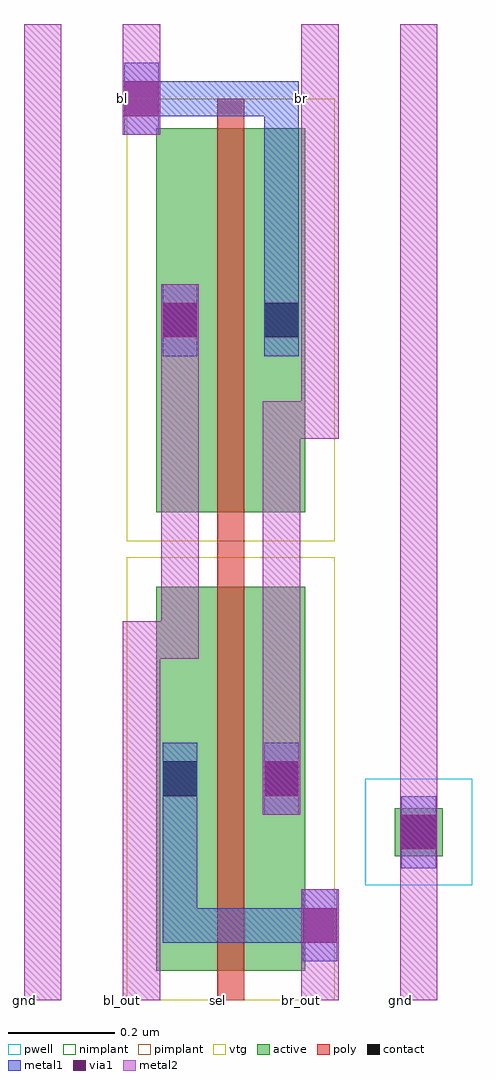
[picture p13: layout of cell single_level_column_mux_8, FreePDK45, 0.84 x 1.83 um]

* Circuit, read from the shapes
.subckt single_level_column_mux_8 bl bl_out br br_out gnd sel
M1 br sel br_out gnd nfet w=0.72u l=0.05u
M2 bl sel bl_out gnd nfet w=0.72u l=0.05u
.ends

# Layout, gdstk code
import gdstk
lib = gdstk.Library(unit=1e-6, precision=5e-10)
def R(c, l, rs):  # rectangles x0, y0, x1, y1
    for r in rs: c.add(gdstk.rectangle(r[:2], r[2:], *l))
active = (1, 0)
pwell = (2, 0)
nimplant = (4, 0)
pimplant = (5, 0)
vtg = (6, 0)
poly = (9, 0)
contact = (10, 0)
metal1 = (11, 0)
via1 = (12, 0)
metal2 = (13, 0)

active_contact_metal1_1x = lib.new_cell('active_contact_metal1_1x1_np')
R(active_contact_metal1_1x, active, [(0,0.0225,0.09,0.1125)])
R(active_contact_metal1_1x, pwell, [(-0.055,-0.0325,0.145,0.1675)])
R(active_contact_metal1_1x, nimplant, [(0,0.0225,0.09,0.1125)])
R(active_contact_metal1_1x, contact, [(0.0125,0.035,0.0775,0.1)])
R(active_contact_metal1_1x, metal1, [(0.0125,0,0.0775,0.135)])

nmos_m1_w0_72 = lib.new_cell('nmos_m1_w0_72')
R(nmos_m1_w0_72, active, [(0,0,0.28,0.72)])
R(nmos_m1_w0_72, pwell, [(-0.055,-0.055,0.335,0.775)])
R(nmos_m1_w0_72, nimplant, [(0,0,0.28,0.72)])
R(nmos_m1_w0_72, vtg, [(-0.055,-0.055,0.335,0.775)])
R(nmos_m1_w0_72, poly, [(0.115,-0.055,0.165,0.775), (0.115,-0.055,0.165,0.775)])
R(nmos_m1_w0_72, metal1, [(0.0125,0.2925,0.0775,0.4275), (0.2025,0.2925,0.2675,0.4275)])
nmos_m1_w0_72.add(gdstk.Reference(active_contact_metal1_1x, (0,0.2925)))
nmos_m1_w0_72.add(gdstk.Reference(active_contact_metal1_1x, (0.19,0.2925)))
nmos_m1_w0_72.add(gdstk.Label('S', (0.0125,0.2925), layer=11, texttype=0))
nmos_m1_w0_72.add(gdstk.Label('D', (0.2025,0.2925), layer=11, texttype=0))
nmos_m1_w0_72.add(gdstk.Label('G', (0.115,-0.055), layer=9, texttype=0))

metal1_via1_metal2_1x1 = lib.new_cell('metal1_via1_metal2_1x1')
R(metal1_via1_metal2_1x1, metal1, [(0.0025,0,0.0675,0.135), (0.0025,0,0.0675,0.135)])
R(metal1_via1_metal2_1x1, via1, [(0.0025,0.035,0.0675,0.1), (0.0025,0.035,0.0675,0.1)])
R(metal1_via1_metal2_1x1, metal2, [(0,0,0.07,0.135), (0,0,0.07,0.135)])

c_active_contact_metal1_1x = lib.new_cell('active_contact_metal1_1x1_pp')
R(c_active_contact_metal1_1x, active, [(0,0.0225,0.09,0.1125)])
R(c_active_contact_metal1_1x, pwell, [(-0.055,-0.0325,0.145,0.1675)])
R(c_active_contact_metal1_1x, pimplant, [(0,0.0225,0.09,0.1125)])
R(c_active_contact_metal1_1x, contact, [(0.0125,0.035,0.0775,0.1)])
R(c_active_contact_metal1_1x, metal1, [(0.0125,0,0.0775,0.135)])

single_level_column_mux_ = lib.new_cell('single_level_column_mux_8')
R(single_level_column_mux_, poly, [(0.3275,0,0.3775,1.69)])
R(single_level_column_mux_, metal1, [(0.225,0.1075,0.29,0.1725), (0.2575,0.1075,0.52,0.1725), (0.225,0.14,0.29,0.415), (0.415,1.275,0.48,1.69), (0.15,1.6575,0.4475,1.7225), (0.415,1.6575,0.48,1.7225)])
R(single_level_column_mux_, metal2, [(-0.035,0,0.035,1.83), (0.15,0,0.22,0.14), (0.485,0,0.555,0.14), (0.67,0,0.74,1.83), (0.15,0.14,0.22,0.675), (0.4125,0.4825,0.4825,1.0875), (0.15,0.64,0.22,0.71), (0.185,0.64,0.2575,0.71), (0.2225,0.64,0.2925,0.71), (0.2225,0.675,0.2925,1.2075), (0.4125,1.0525,0.4825,1.1225), (0.4475,1.0525,0.52,1.1225), (0.485,1.0525,0.555,1.1225), (0.485,1.0875,0.555,1.69), (0.15,1.69,0.22,1.83), (0.485,1.69,0.555,1.83)])
single_level_column_mux_.add(gdstk.Reference(nmos_m1_w0_72, (0.2125,0.055)))
single_level_column_mux_.add(gdstk.Reference(nmos_m1_w0_72, (0.2125,0.915)))
single_level_column_mux_.add(gdstk.Reference(metal1_via1_metal2_1x1, (0.15,1.6225)))
single_level_column_mux_.add(gdstk.Reference(metal1_via1_metal2_1x1, (0.485,0.0725)))
single_level_column_mux_.add(gdstk.Reference(metal1_via1_metal2_1x1, (0.2225,1.2075)))
single_level_column_mux_.add(gdstk.Reference(metal1_via1_metal2_1x1, (0.4125,0.3475)))
single_level_column_mux_.add(gdstk.Reference(metal1_via1_metal2_1x1, (0.67,0.2475)))
single_level_column_mux_.add(gdstk.Reference(c_active_contact_metal1_1x, (0.66,0.2475)))
single_level_column_mux_.add(gdstk.Label('bl_out', (0.15,0), layer=13, texttype=0))
single_level_column_mux_.add(gdstk.Label('gnd', (-0.035,0), layer=13, texttype=0))
single_level_column_mux_.add(gdstk.Label('gnd', (0.67,0), layer=13, texttype=0))
single_level_column_mux_.add(gdstk.Label('br_out', (0.485,0), layer=13, texttype=0))
single_level_column_mux_.add(gdstk.Label('bl', (0.15,1.69), layer=13, texttype=0))
single_level_column_mux_.add(gdstk.Label('br', (0.485,1.69), layer=13, texttype=0))
single_level_column_mux_.add(gdstk.Label('sel', (0.3275,0), layer=9, texttype=0))

lib.write_gds('single_level_column_mux_8.gds')
